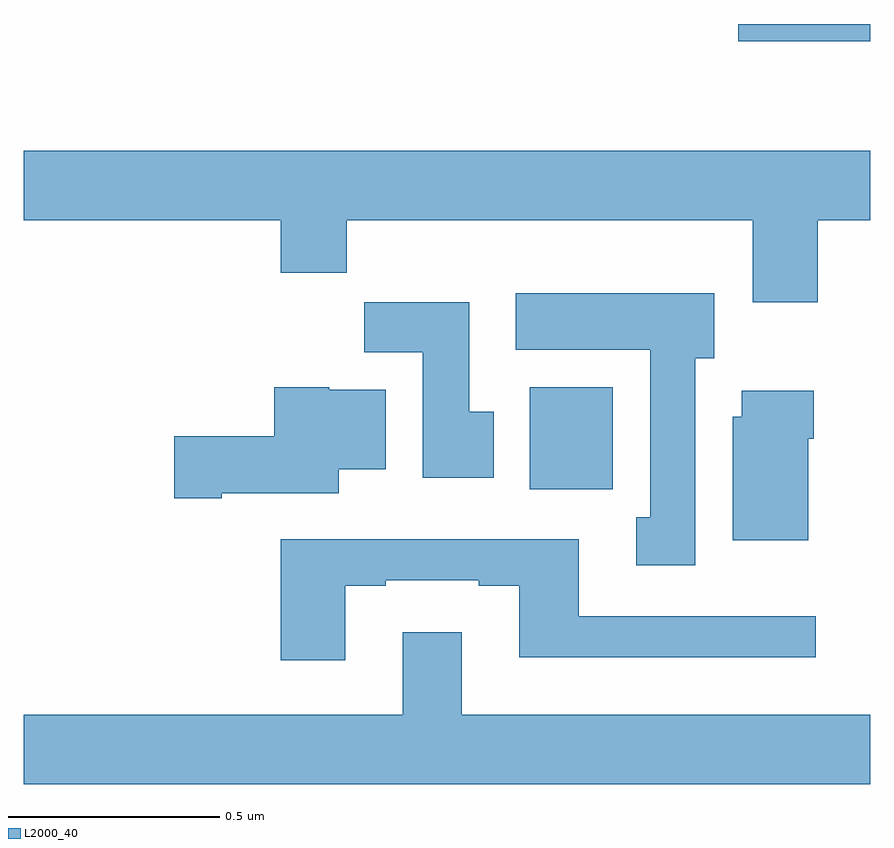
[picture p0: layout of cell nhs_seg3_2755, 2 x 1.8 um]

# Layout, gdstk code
import gdstk
lib = gdstk.Library(unit=1e-6, precision=1e-09)
def R(c, l, rs):  # rectangles x0, y0, x1, y1
    for r in rs: c.add(gdstk.rectangle(r[:2], r[2:], *l))
def P(c, l, *ps):  # polygons
    for p in ps: c.add(gdstk.Polygon(p, *l))
L2000_40 = (2000, 40)

nhs_seg3_2755 = lib.new_cell('nhs_seg3_2755')
R(nhs_seg3_2755, L2000_40, [(146.195,680.3,146.392,680.542), (146.688,681.359,147,681.4)])
P(nhs_seg3_2755, L2000_40, [(146.876,680.936),(147,680.936),(147,681.1),(145,681.1),(145,680.936),(145.607,680.936),(145.607,680.812),(145.763,680.812),(145.763,680.936),(146.723,680.936),(146.723,680.742),(146.876,680.742)],
  [(146.587,680.61),(146.632,680.61),(146.632,680.764),(146.163,680.764),(146.163,680.63),(146.48,680.63),(146.48,680.234),(146.447,680.234),(146.447,680.121),(146.587,680.121)],
  [(146.11,680.484),(146.053,680.484),(146.053,680.743),(145.804,680.743),(145.804,680.624),(145.943,680.624),(145.943,680.328),(146.11,680.328)],
  [(145.468,680.291),(145.744,680.291),(145.744,680.348),(145.855,680.348),(145.855,680.536),(145.722,680.536),(145.722,680.542),(145.592,680.542),(145.592,680.426),(145.356,680.426),(145.356,680.279),(145.468,680.279)],
  [(146.854,680.42),(146.867,680.42),(146.867,680.533),(146.696,680.533),(146.696,680.472),(146.675,680.472),(146.675,680.18),(146.854,680.18)],
  [(145.759,680.073),(145.855,680.073),(145.855,680.085),(146.075,680.085),(146.075,680.073),(146.171,680.073),(146.171,679.904),(146.872,679.904),(146.872,680.001),(146.311,680.001),(146.311,680.182),(145.607,680.182),(145.607,679.896),(145.759,679.896)],
  [(147,679.768),(146.035,679.768),(146.035,679.963),(145.895,679.963),(145.895,679.768),(145,679.768),(145,679.604),(147,679.604)])

lib.write_gds('nhs_seg3_2755.gds')
